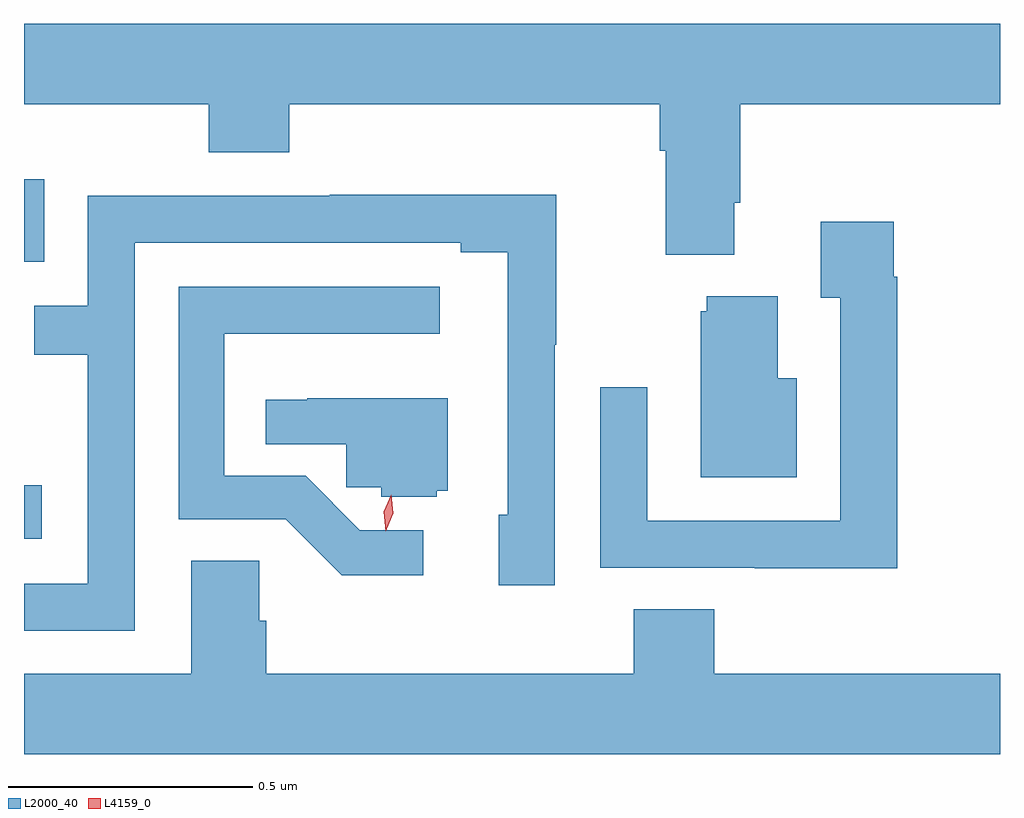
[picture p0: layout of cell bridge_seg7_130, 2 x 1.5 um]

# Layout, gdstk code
import gdstk
lib = gdstk.Library(unit=1e-6, precision=1e-09)
def R(c, l, rs):  # rectangles x0, y0, x1, y1
    for r in rs: c.add(gdstk.rectangle(r[:2], r[2:], *l))
def P(c, l, *ps):  # polygons
    for p in ps: c.add(gdstk.Polygon(p, *l))
L2000_40 = (2000, 40)
L4159_0 = (4159, 0)

bridge_seg7_130 = lib.new_cell('bridge_seg7_130')
R(bridge_seg7_130, L2000_40, [(662.776,1049.009,662.812,1049.119), (662.776,1049.577,662.817,1049.746)])
P(bridge_seg7_130, L2000_40, [(664.231,1049.698),(664.244,1049.698),(664.244,1049.9),(664.776,1049.9),(664.776,1050.064),(662.776,1050.064),(662.776,1049.9),(663.155,1049.9),(663.155,1049.801),(663.32,1049.801),(663.32,1049.9),(664.079,1049.9),(664.079,1049.804),(664.091,1049.804),(664.091,1049.591),(664.231,1049.591)],
  [(663.003,1049.616),(663.671,1049.616),(663.671,1049.596),(663.767,1049.596),(663.767,1049.058),(663.749,1049.058),(663.749,1048.914),(663.864,1048.914),(663.864,1049.407),(663.867,1049.407),(663.867,1049.714),(663.403,1049.714),(663.403,1049.712),(662.907,1049.712),(662.907,1049.487),(662.797,1049.487),(662.797,1049.386),(662.907,1049.386),(662.907,1048.917),(662.776,1048.917),(662.776,1048.821),(663.003,1048.821)],
  [(664.565,1049.546),(664.558,1049.546),(664.558,1049.659),(664.409,1049.659),(664.409,1049.503),(664.449,1049.503),(664.449,1049.046),(664.053,1049.046),(664.053,1049.32),(663.957,1049.32),(663.957,1048.95),(664.273,1048.95),(664.273,1048.949),(664.565,1048.949)],
  [(663.594,1049.027),(663.464,1049.027),(663.353,1049.138),(663.186,1049.138),(663.186,1049.429),(663.628,1049.429),(663.628,1049.526),(663.093,1049.526),(663.093,1049.049),(663.312,1049.049),(663.427,1048.934),(663.594,1048.934)],
  [(664.36,1049.338),(664.321,1049.338),(664.321,1049.506),(664.175,1049.506),(664.175,1049.475),(664.163,1049.475),(664.163,1049.135),(664.36,1049.135)],
  [(663.622,1049.107),(663.644,1049.107),(663.644,1049.297),(663.356,1049.297),(663.356,1049.294),(663.271,1049.294),(663.271,1049.203),(663.436,1049.203),(663.436,1049.115),(663.508,1049.115),(663.508,1049.095),(663.622,1049.095)],
  [(664.776,1048.732),(664.19,1048.732),(664.19,1048.865),(664.025,1048.865),(664.025,1048.732),(663.272,1048.732),(663.272,1048.841),(663.258,1048.841),(663.258,1048.964),(663.119,1048.964),(663.119,1048.732),(662.776,1048.732),(662.776,1048.568),(664.776,1048.568)])
P(bridge_seg7_130, L4159_0, [(663.517,1049.025),(663.517,1049.025),(663.513,1049.064),(663.529,1049.099),(663.529,1049.099),(663.529,1049.099),(663.533,1049.061),(663.517,1049.025)])

lib.write_gds('bridge_seg7_130.gds')
